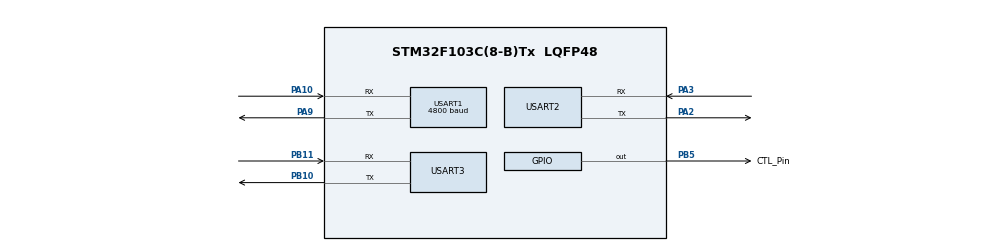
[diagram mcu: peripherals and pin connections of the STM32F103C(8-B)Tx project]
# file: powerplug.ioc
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Dma.Request0=USART3_RX
Dma.Request1=USART3_TX
Dma.Request2=USART1_RX
Dma.USART1_RX.2.Direction=DMA_PERIPH_TO_MEMORY
Dma.USART1_RX.2.Instance=DMA1_Channel5
Dma.USART1_RX.2.MemDataAlignment=DMA_MDATAALIGN_BYTE
Dma.USART1_RX.2.MemInc=DMA_MINC_ENABLE
Dma.USART1_RX.2.Mode=DMA_NORMAL
Dma.USART1_RX.2.PeriphDataAlignment=DMA_PDATAALIGN_BYTE
Dma.USART1_RX.2.PeriphInc=DMA_PINC_DISABLE
Dma.USART1_RX.2.Priority=DMA_PRIORITY_LOW
Dma.USART3_RX.0.Direction=DMA_PERIPH_TO_MEMORY
Dma.USART3_RX.0.Instance=DMA1_Channel3
Dma.USART3_RX.0.MemDataAlignment=DMA_MDATAALIGN_BYTE
Dma.USART3_RX.0.MemInc=DMA_MINC_ENABLE
Dma.USART3_RX.0.Mode=DMA_NORMAL
Dma.USART3_RX.0.PeriphDataAlignment=DMA_PDATAALIGN_BYTE
Dma.USART3_RX.0.PeriphInc=DMA_PINC_DISABLE
Dma.USART3_RX.0.Priority=DMA_PRIORITY_LOW
Dma.USART3_TX.1.Direction=DMA_MEMORY_TO_PERIPH
Dma.USART3_TX.1.Instance=DMA1_Channel2
Dma.USART3_TX.1.MemDataAlignment=DMA_MDATAALIGN_BYTE
Dma.USART3_TX.1.MemInc=DMA_MINC_ENABLE
Dma.USART3_TX.1.Mode=DMA_NORMAL
Dma.USART3_TX.1.PeriphDataAlignment=DMA_PDATAALIGN_BYTE
Dma.USART3_TX.1.PeriphInc=DMA_PINC_DISABLE
Dma.USART3_TX.1.Priority=DMA_PRIORITY_LOW
FREERTOS.BinarySemaphores01=sys_main_can_send_wifi,Dynamic,NULL
FREERTOS.Tasks01=sys_main_task,2,128,start_sys_main,Default,NULL,Dynamic,NULL,NULL;wifi_recv_task,1,128,start_wifi_recv,Default,NULL,Dynamic,NULL,NULL;power_recv_task,0,128,start_power_recv,Default,NULL,Dynamic,NULL,NULL
Mcu.Family=STM32F1
Mcu.Name=STM32F103C(8-B)Tx
Mcu.Package=LQFP48
NVIC.DMA1_Channel2_IRQn=true\:5\:0\:false\:false\:true\:true\:false
NVIC.DMA1_Channel3_IRQn=true\:5\:0\:false\:false\:true\:true\:false
NVIC.DMA1_Channel5_IRQn=true\:5\:0\:false\:false\:true\:true\:false
NVIC.PriorityGroup=NVIC_PRIORITYGROUP_4
NVIC.USART1_IRQn=true\:7\:0\:true\:true\:true\:1\:true\:true
NVIC.USART3_IRQn=true\:5\:0\:true\:true\:true\:2\:true\:true
PA10.Mode=Asynchronous
PA10.Signal=USART1_RX
PA13.Mode=Serial_Wire
PA13.Signal=SYS_JTMS-SWDIO
PA14.Mode=Serial_Wire
PA14.Signal=SYS_JTCK-SWCLK
PA2.Mode=Asynchronous
PA2.Signal=USART2_TX
PA3.Mode=Asynchronous
PA3.Signal=USART2_RX
PA9.Mode=Asynchronous
PA9.Signal=USART1_TX
PB10.Mode=Asynchronous
PB10.Signal=USART3_TX
PB11.Mode=Asynchronous
PB11.Signal=USART3_RX
PB5.GPIO_Label=CTL_Pin
PB5.PinState=GPIO_PIN_SET
PB5.Signal=GPIO_Output
PB5.Stacked=true
ProjectManager.HeapSize=0x200
ProjectManager.StackSize=0x400
ProjectManager.TargetToolchain=MDK-ARM V5
RCC.APB1Freq_Value=8000000
RCC.APB2Freq_Value=8000000
USART1.BaudRate=4800
USART1.VirtualMode=VM_ASYNC
USART2.VirtualMode=VM_ASYNC
USART3.VirtualMode=VM_ASYNC
VP_FREERTOS_VS_ENABLE.Mode=Enabled
VP_IWDG_VS_IWDG.Mode=IWDG_Activate
board=custom

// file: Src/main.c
/**
  ******************************************************************************
  * @file           : main.c
  * @brief          : Main program body
  ******************************************************************************
  * This notice applies to any and all portions of this file
  * that are not between comment pairs USER CODE BEGIN and
  * USER CODE END. Other portions of this file, whether
  * inserted by the user or by software development tools
  * are owned by their respective copyright owners.
  *
  * Copyright (c) 2018 STMicroelectronics International N.V.
  * All rights reserved.
  *
  * Redistribution and use in source and binary forms, with or without
  * modification, are permitted, provided that the following conditions are met:
  *
  * 1. Redistribution of source code must retain the above copyright notice,
  *    this list of conditions and the following disclaimer.
  * 2. Redistributions in binary form must reproduce the above copyright notice,
  *    this list of conditions and the following disclaimer in the documentation
  *    and/or other materials provided with the distribution.
  * 3. Neither the name of STMicroelectronics nor the names of other
  *    contributors to this software may be used to endorse or promote products
  *    derived from this software without specific written permission.
  * 4. This software, including modifications and/or derivative works of this
  *    software, must execute solely and exclusively on microcontroller or
  *    microprocessor devices manufactured by or for STMicroelectronics.
  * 5. Redistribution and use of this software other than as permitted under
  *    this license is void and will automatically terminate your rights under
  *    this license.
  *
  * THIS SOFTWARE IS PROVIDED BY STMICROELECTRONICS AND CONTRIBUTORS "AS IS"
  * AND ANY EXPRESS, IMPLIED OR STATUTORY WARRANTIES, INCLUDING, BUT NOT
  * LIMITED TO, THE IMPLIED WARRANTIES OF MERCHANTABILITY, FITNESS FOR A
  * PARTICULAR PURPOSE AND NON-INFRINGEMENT OF THIRD PARTY INTELLECTUAL PROPERTY
  * RIGHTS ARE DISCLAIMED TO THE FULLEST EXTENT PERMITTED BY LAW. IN NO EVENT
  * SHALL STMICROELECTRONICS OR CONTRIBUTORS BE LIABLE FOR ANY DIRECT, INDIRECT,
  * INCIDENTAL, SPECIAL, EXEMPLARY, OR CONSEQUENTIAL DAMAGES (INCLUDING, BUT NOT
  * LIMITED TO, PROCUREMENT OF SUBSTITUTE GOODS OR SERVICES; LOSS OF USE, DATA,
  * OR PROFITS; OR BUSINESS INTERRUPTION) HOWEVER CAUSED AND ON ANY THEORY OF
  * LIABILITY, WHETHER IN CONTRACT, STRICT LIABILITY, OR TORT (INCLUDING
  * NEGLIGENCE OR OTHERWISE) ARISING IN ANY WAY OUT OF THE USE OF THIS SOFTWARE,
  * EVEN IF ADVISED OF THE POSSIBILITY OF SUCH DAMAGE.
  *
  ******************************************************************************
  */
#include "main.h"
#include "stm32f1xx_hal.h"
#include "cmsis_os.h"

IWDG_HandleTypeDef hiwdg;

UART_HandleTypeDef huart1;
UART_HandleTypeDef huart2;
UART_HandleTypeDef huart3;
DMA_HandleTypeDef hdma_usart1_rx;
DMA_HandleTypeDef hdma_usart3_rx;
DMA_HandleTypeDef hdma_usart3_tx;

osThreadId sys_main_taskHandle;
osThreadId wifi_recv_taskHandle;
osThreadId power_recv_taskHandle;
osSemaphoreId sys_main_can_send_wifiHandle;

/* USER CODE BEGIN PV */
/* Private variables ---------------------------------------------------------*/

/* USER CODE END PV */

void SystemClock_Config(void);
static void MX_GPIO_Init(void);
static void MX_DMA_Init(void);
static void MX_USART2_UART_Init(void);
static void MX_USART3_UART_Init(void);
static void MX_USART1_UART_Init(void);
static void MX_IWDG_Init(void);
void start_sys_main(void const *argument);
void start_wifi_recv(void const *argument);
void start_power_recv(void const *argument);
static void MX_NVIC_Init(void);

/* USER CODE BEGIN PFP */
/* Private function prototypes -----------------------------------------------*/

/* USER CODE END PFP */

/* USER CODE BEGIN 0 */
//net_state_machine
typedef enum
{
  NET_STATE_MACHINE_CWMODE_DEF_1 = 0,
  NET_STATE_MACHINE_CWJAP_DEF_1 = 1,
  NET_STATE_MACHINE_CIPSTART_TCP_IP = 2,
  NET_STATE_MACHINE_CIPSEND_7 = 3,
  NET_STATE_MACHINE_CIPSEND_CONTENT_1 = 4,
  NET_STATE_MACHINE_CIPSEND_11_1 = 5,
  NET_STATE_MACHINE_CIPSEND_CONTENT_2 = 6,
  NET_STATE_MACHINE_CIPSEND_11_2 = 7,
  NET_STATE_MACHINE_CIPSEND_CONTENT_3 = 8,
  NET_STATE_MACHINE_CWJAP_QUERY = 9,
  NET_STATE_MACHINE_ = 255
} net_state_machine_status;

#define UART1_RX_LEN  24

#define PUTCHAR_PROTOTYPE int fputc(int ch, FILE *f)
PUTCHAR_PROTOTYPE
{
  HAL_UART_Transmit(&huart2, (uint8_t *)&ch, 1, 0xFFFF);
  return ch;
}

uint32_t   voltage_par_value;
uint32_t   voltage_reg_value;
uint32_t   current_par_value;
uint32_t   current_reg_value;
uint32_t   power_param_value;
uint32_t   power_reges_value;
float      voltage;
uint32_t   voltage_int;
float      current;
uint32_t   current_int;
float      power;
uint32_t   power_int;

uint8_t    usart3_rx_flag = 0;
uint8_t    usart3_rx_buffer[128];
uint8_t    usart3_tx_buffer[128];
uint16_t   usart3_tx_len = 0;

uint8_t    usart1_rx_flag = 0;
uint8_t    usart1_rx_buffer[48];
uint8_t    usart1_tx_buffer[48];
uint16_t   usart1_tx_len = 0;

char thousand_char;
char hundred_char;
char deci_char;
char last_char;
char value2str_vol_cur[20];
char value2str_vol[11];
char value2str_cur[11];
char value2str_pwr[11];
char relay_state[11];
int net_state_machine = 0;
int rely_state = 0;

_Bool net_sendcmd_noblock(char *cmd)
{
  printf("Sent:%s\r\n", cmd);
  dma_send((unsigned char *)cmd, strlen((const char *)cmd));
  //printf("Sent:%s\r\n", cmd);
}

void value2str_in_out(int value, char *str)
{
  int temp_value;

  if (value / 10000 != 0)
  {
    return ;
  }
  else if (value / 10000 == 0) //below 10000
  {
    thousand_char = value / 1000 + 0x30; //thousand
    temp_value = value % 1000; // hundred deci etc

    if (temp_value / 100 != 0)
    {
      hundred_char = temp_value / 100 + 0x30;
    }
    else if (temp_value / 100 == 0)
    {
      hundred_char = 0x30;
    }
    temp_value = value % 100; //deci etc;

    if (temp_value / 10 != 0)
    {
      deci_char = temp_value / 10 + 0x30;
    }
    else if (temp_value / 10 == 0)
    {
      deci_char = 0x30;
    }
    last_char = value % 10 + 0x30;
  }

  str[0] = 'v';
  str[1] = 'o';
  str[2] = 'l';
  str[3]  = ':';

  str[4] = thousand_char;
  str[5] = hundred_char;
  str[6] = deci_char;
  str[7] = last_char;
  str[8] = ',';
  str[9] = ' ';
  str[10] = '\0';
}
void cur_value2str_in_out(int value, char *str)
{
  int temp_value;

  if (value / 10000 != 0)
  {
    return ;
  }
  else if (value / 10000 == 0) //below 10000
  {
    thousand_char = value / 1000 + 0x30; //thousand
    temp_value = value % 1000; // hundred deci etc

    if (temp_value / 100 != 0)
    {
      hundred_char = temp_value / 100 + 0x30;
    }
    else if (temp_value / 100 == 0)
    {
      hundred_char = 0x30;
    }
    temp_value = value % 100; //deci etc;

    if (temp_value / 10 != 0)
    {
      deci_char = temp_value / 10 + 0x30;
    }
    else if (temp_value / 10 == 0)
    {
      deci_char = 0x30;
    }
    last_char = value % 10 + 0x30;
  }

  str[0] = 'c';
  str[1] = 'u';
  str[2] = 'r';
  str[3]  = ':';

  str[4] = thousand_char;
  str[5] = hundred_char;
  str[6] = deci_char;
  str[7] = last_char;
  str[8] = ',';
  str[9] = ' ';
  str[10] = '\0';
}

void pwr_value2str_in_out(int value, char *str)
{
  int temp_value;

  if (value / 10000 != 0)
  {
    return ;
  }
  else if (value / 10000 == 0) //below 10000
  {
    thousand_char = value / 1000 + 0x30; //thousand
    temp_value = value % 1000; // hundred deci etc

    if (temp_value / 100 != 0)
    {
      hundred_char = temp_value / 100 + 0x30;
    }
    else if (temp_value / 100 == 0)
    {
      hundred_char = 0x30;
    }
    temp_value = value % 100; //deci etc;

    if (temp_value / 10 != 0)
    {
      deci_char = temp_value / 10 + 0x30;
    }
    else if (temp_value / 10 == 0)
    {
      deci_char = 0x30;
    }
    last_char = value % 10 + 0x30;
  }

  str[0] = 'p';
  str[1] = 'w';
  str[2] = 'r';
  str[3]  = ':';

  str[4] = thousand_char;
  str[5] = hundred_char;
  str[6] = deci_char;
  str[7] = last_char;
  str[8] = ',';
  str[9] = ' ';
  str[10] = '\0';
}

void hlw8032_value_adjust(uint8_t *rx_src, uint8_t *rx_adjust)
{
  int rx_bf_index;
  uint8_t rx_bf_temp_pre;
  uint8_t rx_bf_temp_cur;
  for (rx_bf_index = 0; rx_bf_index < 24; rx_bf_index++)
  {
    rx_bf_temp_cur = rx_src[rx_bf_index];
    if (rx_bf_temp_cur == 0x55)
    {
      rx_bf_temp_pre = rx_bf_temp_cur;
    }
    else if (rx_bf_temp_cur == 0x5a)
    {
      if (rx_bf_temp_pre == 0x55)
      {
        if (rx_bf_index == 1)
        {
          memcpy(rx_adjust + 2, &rx_src[rx_bf_temp_cur + 2], 24 - (rx_bf_temp_cur - 1));
          memcpy(rx_adjust + 2 + (24 - (rx_bf_temp_cur - 1)), &rx_src[0], rx_bf_temp_cur - 1);
        }
      }
    }
  }
}
/* USER CODE END 0 */

int main(void)
{

  /* MCU Configuration----------------------------------------------------------*/

  /* Reset of all peripherals, Initializes the Flash interface and the Systick. */
  HAL_Init();

  /* Configure the system clock */
  SystemClock_Config();

  /* Initialize all configured peripherals */
  MX_GPIO_Init();
  MX_DMA_Init();
  MX_USART2_UART_Init();
  MX_USART3_UART_Init();
  MX_USART1_UART_Init();
  MX_IWDG_Init();

  /* Initialize interrupts */
  MX_NVIC_Init();
  /* USER CODE BEGIN 2 */
  HAL_IWDG_Init(&hiwdg);
  //uart1 hlw8032
  //uart2 printf
  //uart3 esp8266

  printf("sichuan university wsn lab\r\n");
  printf("project powerplug v1.0\r\n");
  printf("compile date: %s %s\r\n", __DATE__, __TIME__);

  //uart3 receive dma wifi at command
  if (HAL_UART_Receive_DMA(&huart3, (uint8_t *)&usart3_rx_buffer, 128) != HAL_OK)
  {
    Error_Handler();
  }

  //enable uart3 idle interrupt
  __HAL_UART_ENABLE_IT(&huart3, UART_IT_IDLE);

  //uart1 receive dma hlw8032 data 24byte
  HAL_UART_Receive_IT(&huart1, usart1_rx_buffer, UART1_RX_LEN);

  /* USER CODE END 2 */

  /* Create the semaphores(s) */
  /* definition and creation of sys_main_can_send_wifi */
  osSemaphoreDef(sys_main_can_send_wifi);
  sys_main_can_send_wifiHandle = osSemaphoreCreate(osSemaphore(sys_main_can_send_wifi), 1);

  /* Create the thread(s) */
  /* definition and creation of sys_main_task */
  osThreadDef(sys_main_task, start_sys_main, osPriorityHigh, 0, 128);
  sys_main_taskHandle = osThreadCreate(osThread(sys_main_task), NULL);

  /* definition and creation of wifi_recv_task */
  osThreadDef(wifi_recv_task, start_wifi_recv, osPriorityAboveNormal, 0, 128);
  wifi_recv_taskHandle = osThreadCreate(osThread(wifi_recv_task), NULL);

  /* definition and creation of power_recv_task */
  osThreadDef(power_recv_task, start_power_recv, osPriorityNormal, 0, 128);
  power_recv_taskHandle = osThreadCreate(osThread(power_recv_task), NULL);

  /* Start scheduler */
  osKernelStart();

  /* We should never get here as control is now taken by the scheduler */

  /* Infinite loop */
  while (1)
  {

  }

}

void SystemClock_Config(void)
{

  RCC_OscInitTypeDef RCC_OscInitStruct;
  RCC_ClkInitTypeDef RCC_ClkInitStruct;

  /**Initializes the CPU, AHB and APB busses clocks
  */
  RCC_OscInitStruct.OscillatorType = RCC_OSCILLATORTYPE_HSI | RCC_OSCILLATORTYPE_LSI;
  RCC_OscInitStruct.HSIState = RCC_HSI_ON;
  RCC_OscInitStruct.HSICalibrationValue = 16;
  RCC_OscInitStruct.LSIState = RCC_LSI_ON;
  RCC_OscInitStruct.PLL.PLLState = RCC_PLL_NONE;
  if (HAL_RCC_OscConfig(&RCC_OscInitStruct) != HAL_OK)
  {
    _Error_Handler(__FILE__, __LINE__);
  }

  /**Initializes the CPU, AHB and APB busses clocks
  */
  RCC_ClkInitStruct.ClockType = RCC_CLOCKTYPE_HCLK | RCC_CLOCKTYPE_SYSCLK
                                | RCC_CLOCKTYPE_PCLK1 | RCC_CLOCKTYPE_PCLK2;
  RCC_ClkInitStruct.SYSCLKSource = RCC_SYSCLKSOURCE_HSI;
  RCC_ClkInitStruct.AHBCLKDivider = RCC_SYSCLK_DIV1;
  RCC_ClkInitStruct.APB1CLKDivider = RCC_HCLK_DIV1;
  RCC_ClkInitStruct.APB2CLKDivider = RCC_HCLK_DIV1;

  if (HAL_RCC_ClockConfig(&RCC_ClkInitStruct, FLASH_LATENCY_0) != HAL_OK)
  {
    _Error_Handler(__FILE__, __LINE__);
  }

  /**Configure the Systick interrupt time
  */
  HAL_SYSTICK_Config(HAL_RCC_GetHCLKFreq() / 1000);

  /**Configure the Systick
  */
  HAL_SYSTICK_CLKSourceConfig(SYSTICK_CLKSOURCE_HCLK);

  /* SysTick_IRQn interrupt configuration */
  HAL_NVIC_SetPriority(SysTick_IRQn, 15, 0);
}

/**
  * @brief NVIC Configuration.
  * @retval None
  */
static void MX_NVIC_Init(void)
{
  /* USART1_IRQn interrupt configuration */
  HAL_NVIC_SetPriority(USART1_IRQn, 7, 0);
  HAL_NVIC_EnableIRQ(USART1_IRQn);
  /* USART3_IRQn interrupt configuration */
  HAL_NVIC_SetPriority(USART3_IRQn, 5, 0);
  HAL_NVIC_EnableIRQ(USART3_IRQn);
}

/* IWDG init function */
static void MX_IWDG_Init(void)
{

  hiwdg.Instance = IWDG;
  hiwdg.Init.Prescaler = IWDG_PRESCALER_4;
  hiwdg.Init.Reload = 4095;
  if (HAL_IWDG_Init(&hiwdg) != HAL_OK)
  {
    _Error_Handler(__FILE__, __LINE__);
  }

}

/* USART1 init function */
static void MX_USART1_UART_Init(void)
{

  huart1.Instance = USART1;
  huart1.Init.BaudRate = 4800;
  huart1.Init.WordLength = UART_WORDLENGTH_8B;
  huart1.Init.StopBits = UART_STOPBITS_1;
  huart1.Init.Parity = UART_PARITY_NONE;
  huart1.Init.Mode = UART_MODE_TX_RX;
  huart1.Init.HwFlowCtl = UART_HWCONTROL_NONE;
  huart1.Init.OverSampling = UART_OVERSAMPLING_16;
  if (HAL_UART_Init(&huart1) != HAL_OK)
  {
    _Error_Handler(__FILE__, __LINE__);
  }

}

/* USART2 init function */
static void MX_USART2_UART_Init(void)
{

  huart2.Instance = USART2;
  huart2.Init.BaudRate = 115200;
  huart2.Init.WordLength = UART_WORDLENGTH_8B;
  huart2.Init.StopBits = UART_STOPBITS_1;
  huart2.Init.Parity = UART_PARITY_NONE;
  huart2.Init.Mode = UART_MODE_TX_RX;
  huart2.Init.HwFlowCtl = UART_HWCONTROL_NONE;
  huart2.Init.OverSampling = UART_OVERSAMPLING_16;
  if (HAL_UART_Init(&huart2) != HAL_OK)
  {
    _Error_Handler(__FILE__, __LINE__);
  }

}

/* USART3 init function */
static void MX_USART3_UART_Init(void)
{

  huart3.Instance = USART3;
  huart3.Init.BaudRate = 115200;
  huart3.Init.WordLength = UART_WORDLENGTH_8B;
  huart3.Init.StopBits = UART_STOPBITS_1;
  huart3.Init.Parity = UART_PARITY_NONE;
  huart3.Init.Mode = UART_MODE_TX_RX;
  huart3.Init.HwFlowCtl = UART_HWCONTROL_NONE;
  huart3.Init.OverSampling = UART_OVERSAMPLING_16;
  if (HAL_UART_Init(&huart3) != HAL_OK)
  {
    _Error_Handler(__FILE__, __LINE__);
  }

}

static void MX_DMA_Init(void)
{
  /* DMA controller clock enable */
  __HAL_RCC_DMA1_CLK_ENABLE();

  /* DMA interrupt init */
  /* DMA1_Channel2_IRQn interrupt configuration */
  HAL_NVIC_SetPriority(DMA1_Channel2_IRQn, 5, 0);
  HAL_NVIC_EnableIRQ(DMA1_Channel2_IRQn);
  /* DMA1_Channel3_IRQn interrupt configuration */
  HAL_NVIC_SetPriority(DMA1_Channel3_IRQn, 5, 0);
  HAL_NVIC_EnableIRQ(DMA1_Channel3_IRQn);
  /* DMA1_Channel5_IRQn interrupt configuration */
  HAL_NVIC_SetPriority(DMA1_Channel5_IRQn, 5, 0);
  HAL_NVIC_EnableIRQ(DMA1_Channel5_IRQn);

}

/** Configure pins as
        * Analog
        * Input
        * Output
        * EVENT_OUT
        * EXTI
*/
static void MX_GPIO_Init(void)
{

  GPIO_InitTypeDef GPIO_InitStruct;

  /* GPIO Ports Clock Enable */
  __HAL_RCC_GPIOA_CLK_ENABLE();
  __HAL_RCC_GPIOB_CLK_ENABLE();

  /*Configure GPIO pin Output Level */
  HAL_GPIO_WritePin(CTL_Pin_GPIO_Port, CTL_Pin_Pin, GPIO_PIN_SET);

  /*Configure GPIO pin : CTL_Pin_Pin */
  GPIO_InitStruct.Pin = CTL_Pin_Pin;
  GPIO_InitStruct.Mode = GPIO_MODE_OUTPUT_PP;
  GPIO_InitStruct.Pull = GPIO_NOPULL;
  GPIO_InitStruct.Speed = GPIO_SPEED_FREQ_LOW;
  HAL_GPIO_Init(CTL_Pin_GPIO_Port, &GPIO_InitStruct);

}

/* USER CODE BEGIN 4 */
void HAL_UART_RxCpltCallback(UART_HandleTypeDef *huart)
{
  if (huart->Instance == USART1)
  {
    usart1_rx_flag = 1;
  }
}
void HAL_UART_ErrorCallback(UART_HandleTypeDef *huart)
{
  if (huart->Instance == USART1)
  {
    HAL_UART_Receive_IT(&huart1, usart1_rx_buffer, UART1_RX_LEN);
  }
}

/* USER CODE END 4 */

/* start_sys_main function */
void start_sys_main(void const *argument)
{

  /* USER CODE BEGIN 5 */
  osSemaphoreRelease(sys_main_can_send_wifiHandle);
  /* Infinite loop */
  for (;;)
  {
    osDelay(50);
    HAL_IWDG_Refresh(&hiwdg);
    //wifi send function part
    osSemaphoreWait(sys_main_can_send_wifiHandle, osWaitForever);
    //HAL_UART_Receive_IT(&huart1, usart1_rx_buffer, UART1_RX_LEN);
    if (net_state_machine == NET_STATE_MACHINE_CWMODE_DEF_1)
    {
      net_sendcmd_noblock("AT+CWMODE_DEF=1\r\n");
    }
    if (net_state_machine == NET_STATE_MACHINE_CWJAP_DEF_1)
    {
      //net_sendcmd_noblock("AT+CWJAP_DEF=\"wsn405\",\"wsn405405\"\r\n");
      net_sendcmd_noblock("AT+CWJAP_DEF=\"davwang\",\"15908106107\"\r\n");

    }
    if (net_state_machine == NET_STATE_MACHINE_CIPSTART_TCP_IP)
    {
      net_sendcmd_noblock("AT+CIPSTART=\"TCP\",\"120.78.149.124\",9999\r\n");
    }
    if (net_state_machine == NET_STATE_MACHINE_CIPSEND_7)
    {
      net_sendcmd_noblock("AT+CIPSEND=7\r\n");
    }
    if (net_state_machine == NET_STATE_MACHINE_CIPSEND_CONTENT_1)
    {
      net_sendcmd_noblock("hello\r\n");
    }
    if (net_state_machine == NET_STATE_MACHINE_CIPSEND_11_1)
    {
      //net_sendcmd_noblock("AT+CIPSEND=11\r\n");
      //value2str_vol_cur
      //net_sendcmd_noblock("AT+CIPSEND=20\r\n");
      net_sendcmd_noblock("AT+CIPSEND=37\r\n");
    }
    if (net_state_machine == NET_STATE_MACHINE_CIPSEND_CONTENT_2)
    {
      //printf("Send Data\r\n");
      //dma_send(value2str_vol, 11);
      //dma_send(value2str_vol_cur, 20);
      dma_send(value2str_vol_cur, 37);
    }
    if (net_state_machine == NET_STATE_MACHINE_CIPSEND_11_2)
    {
      printf("why?");
      net_sendcmd_noblock("AT+CIPSEND=11\r\n");
    }
    if (net_state_machine == NET_STATE_MACHINE_CIPSEND_CONTENT_3)
    {
      memcpy(value2str_cur, "cur", 3);
      //printf("Send Data\r\n");
      dma_send(value2str_cur, 11);
    }
    if (net_state_machine == NET_STATE_MACHINE_CWJAP_QUERY)
    {
      net_sendcmd_noblock("AT+CWJAP?\r\n");
    }
  }
  /* USER CODE END 5 */
}

/* start_wifi_recv function */
void start_wifi_recv(void const *argument)
{
  /* USER CODE BEGIN start_wifi_recv */
  /* Infinite loop */
  for (;;)
  {
    osDelay(50);
    if (usart3_rx_flag == 1)
    {
      usart3_rx_flag = 0;

      //all the usart3 buffer should be checked firstly.
      if (strstr(usart3_tx_buffer, "ERROR"))
      {
        net_state_machine = NET_STATE_MACHINE_CWMODE_DEF_1;
        memset(usart3_tx_buffer, 0x00, 128);
        osDelay(2000);
        osSemaphoreRelease(sys_main_can_send_wifiHandle);
      }
      //net state machine switch
      if (net_state_machine == NET_STATE_MACHINE_CWMODE_DEF_1)
      {
        net_state_machine = 1;
        printf("Received:%s\r\n", usart3_tx_buffer);
        memset(usart3_tx_buffer, 0x00, 128);
        osDelay(2000);
        osSemaphoreRelease(sys_main_can_send_wifiHandle);
      }
      else if (net_state_machine == NET_STATE_MACHINE_CWJAP_DEF_1)
      {
        net_state_machine = 1;

        if ((strstr(usart3_tx_buffer, "OK")) || (strstr(usart3_tx_buffer, "WIFI")))
        {
          net_state_machine = NET_STATE_MACHINE_CIPSTART_TCP_IP;
          memset(usart3_tx_buffer, 0x00, 128);
          osDelay(4000);
          osSemaphoreRelease(sys_main_can_send_wifiHandle);
        }

        printf("Received:%s\r\n", usart3_tx_buffer);
        memset(usart3_tx_buffer, 0x00, 128);
      }
      else if (net_state_machine == NET_STATE_MACHINE_CIPSTART_TCP_IP)
      {
        if (strstr(usart3_tx_buffer, "OK"))
        {
          net_state_machine = NET_STATE_MACHINE_CIPSEND_11_1;
          memset(usart3_tx_buffer, 0x00, 128);
          osSemaphoreRelease(sys_main_can_send_wifiHandle);
        }
        else  if ((strstr(usart3_tx_buffer, "ERROR")) || (strstr(usart3_tx_buffer, "link is not valid")))
        {
          printf("tcp connect error\r\n");
          net_state_machine = NET_STATE_MACHINE_CWMODE_DEF_1;
          memset(usart3_tx_buffer, 0x00, 128);
          osDelay(2000);
          osSemaphoreRelease(sys_main_can_send_wifiHandle);
        }
        printf("Received:%s\r\n", usart3_tx_buffer);
        memset(usart3_tx_buffer, 0x00, 128);
      }
      else if (net_state_machine == NET_STATE_MACHINE_CIPSEND_7)
      {
        if (strstr(usart3_tx_buffer, "OK"))
        {
          net_state_machine = NET_STATE_MACHINE_CIPSEND_CONTENT_1;
          memset(usart3_tx_buffer, 0x00, 128);
          osSemaphoreRelease(sys_main_can_send_wifiHandle);
        }
        printf("Received:%s\r\n", usart3_tx_buffer);
        memset(usart3_tx_buffer, 0x00, 128);
      }
      else if (net_state_machine == NET_STATE_MACHINE_CIPSEND_CONTENT_1)
      {
        if ((strstr(usart3_tx_buffer, "OK")) || (strstr(usart3_tx_buffer, "Recv")))
        {
          net_state_machine = NET_STATE_MACHINE_CIPSEND_11_1;
          memset(usart3_tx_buffer, 0x00, 128);
          osSemaphoreRelease(sys_main_can_send_wifiHandle);
        }
        printf("Received:%s\r\n", usart3_tx_buffer);
        memset(usart3_tx_buffer, 0x00, 128);
      }
      else if (net_state_machine == NET_STATE_MACHINE_CIPSEND_11_1)
      {
        if (strstr(usart3_tx_buffer, "OK"))
        {
          net_state_machine = NET_STATE_MACHINE_CIPSEND_CONTENT_2;
          memset(usart3_tx_buffer, 0x00, 128);
          osSemaphoreRelease(sys_main_can_send_wifiHandle);

        }
        printf("Received:%s\r\n", usart3_tx_buffer);
        memset(usart3_tx_buffer, 0x00, 128);

      }
      else if (net_state_machine == NET_STATE_MACHINE_CIPSEND_CONTENT_2)
      {
        if ((strstr(usart3_tx_buffer, "OK")) || (strstr(usart3_tx_buffer, "Recv")))
        {
          //net_state_machine = NET_STATE_MACHINE_CIPSEND_11_2;
          net_state_machine = NET_STATE_MACHINE_CIPSEND_11_1;
          memset(usart3_tx_buffer, 0x00, 128);
          osDelay(1000);
          osSemaphoreRelease(sys_main_can_send_wifiHandle);

        }
        printf("Received:%s\r\n", usart3_tx_buffer);
        memset(usart3_tx_buffer, 0x00, 128);
      }
      else if (net_state_machine == NET_STATE_MACHINE_CIPSEND_11_2)
      {
        if (strstr(usart3_tx_buffer, "OK"))
        {
          net_state_machine = NET_STATE_MACHINE_CIPSEND_CONTENT_3;
          memset(usart3_tx_buffer, 0x00, 128);
          osSemaphoreRelease(sys_main_can_send_wifiHandle);

        }
        printf("Received:%s\r\n", usart3_tx_buffer);
        memset(usart3_tx_buffer, 0x00, 128);
      }
      else if (net_state_machine == NET_STATE_MACHINE_CIPSEND_CONTENT_3)
      {
        if ((strstr(usart3_tx_buffer, "OK")) || (strstr(usart3_tx_buffer, "Recv")))
        {
          net_state_machine = NET_STATE_MACHINE_CIPSEND_11_1;
          memset(usart3_tx_buffer, 0x00, 128);
          osDelay(2000);
          osSemaphoreRelease(sys_main_can_send_wifiHandle);

        }
        printf("Received:%s\r\n", usart3_tx_buffer);
        memset(usart3_tx_buffer, 0x00, 128);
      }
      else if (net_state_machine == NET_STATE_MACHINE_CWJAP_QUERY)
      {
        if (strstr(usart3_tx_buffer, "OK"))
        {
          net_state_machine = NET_STATE_MACHINE_CIPSEND_11_1;
          memset(usart3_tx_buffer, 0x00, 128);
          //osDelay(2000);
          osSemaphoreRelease(sys_main_can_send_wifiHandle);

        }
        printf("Received:%s\r\n", usart3_tx_buffer);
        memset(usart3_tx_buffer, 0x00, 128);
      }

    }
  }
  /* USER CODE END start_wifi_recv */
}

/* start_power_recv function */
void start_power_recv(void const *argument)
{
  /* USER CODE BEGIN start_power_recv */
  uint16_t count;
  uint8_t rx_buff_temp[24];
  uint8_t a[24];
  uint8_t b[24];
  int pre_net_state_machine;
  int cur_net_state_machine;
  int net_state_unchanged_count;
  int i;
  int start_index;
  static uint8_t send_semp_flag;
  /* Infinite loop */
  for (;;)
  {
    HAL_IWDG_Refresh(&hiwdg);

    if (usart1_rx_flag == 1)
    {
      usart1_rx_flag = 0;

      // copy the data to the temp buffer
      taskENTER_CRITICAL();
      memcpy(a, usart1_rx_buffer, 24);

      for (i = 0; i < 24; i++)
      {
        if ((a[i] == 0x55) && (a[i + 1] == 0x5a))
        {
          start_index = i;
        }
      }
      memcpy(b, a + start_index, 24 - start_index);
      memcpy(b + start_index, a, start_index);
      memcpy(a, b, 24);
      memcpy(rx_buff_temp, a, 24);
      taskEXIT_CRITICAL();
      count++;
      if (count > 10)
      {
        count = 0;
        //printf("voltage=%f\r\n", voltage);
        //printf("current=%f\r\n", current);
        printf("net_state_machine=%d\r\n", net_state_machine);
        cur_net_state_machine = net_state_machine;
        if (cur_net_state_machine == pre_net_state_machine)
        {
          net_state_unchanged_count++;
        }
        else
        {
          net_state_unchanged_count = 0;
        }

        pre_net_state_machine = cur_net_state_machine;
        printf("cycle:%x %x %x %x %x %x %x %x %x %x  %x %x %x %x %x %x %x %x %x %x   %x %x %x %x \r\n", a[0], a[1], a[2], a[3], a[4], a[5], a[6], a[7], a[8], a[9], a[10], a[11], a[12], a[13], a[14], a[15], a[16], a[17], a[18], a[19], a[20], a[21], a[22], a[23]);
        //printf("net_state_unchanged_count=%d\r\n", net_state_unchanged_count);

        if (net_state_unchanged_count > 5)
        {
          if (net_state_machine <= 5)
          {
            net_state_machine++;
            if (net_state_machine == 6)
            {
              net_state_machine = 5;
            }

          }
          if (net_state_machine == 6)
          {
            net_state_machine = 5;
          }
          //osSemaphoreRelease(sys_main_can_send_wifiHandle);
          send_semp_flag = 1;
        }

      }
      if (rx_buff_temp[0] == 0x55 && rx_buff_temp[1] == 0x5a && rx_buff_temp[2] == 0x02 && rx_buff_temp[3] == 0xe3)
      {
        // 20*50=1000ms, 1s send the voltage and current data to usart
        voltage_par_value = rx_buff_temp[2] * 0xFFFF + rx_buff_temp[3] * 0xFF + rx_buff_temp[4];
        voltage_reg_value = rx_buff_temp[5] * 0xFFFF + rx_buff_temp[6] * 0xFF + rx_buff_temp[7];
        current_par_value = rx_buff_temp[8] * 0xFFFF + rx_buff_temp[9] * 0xFF + rx_buff_temp[10];
        current_reg_value = rx_buff_temp[11] * 0xFFFF + rx_buff_temp[12] * 0xFF + rx_buff_temp[13];
        power_param_value = rx_buff_temp[14] * 0xFFFF + rx_buff_temp[15] * 0xFF + rx_buff_temp[16];
        power_reges_value = rx_buff_temp[17] * 0xFFFF + rx_buff_temp[18] * 0xFF + rx_buff_temp[19];
        voltage = voltage_par_value / voltage_reg_value * 1.88;
        voltage_int = (int)voltage ;
        current = current_par_value / current_reg_value * 0.5;
        current_int = (int)current;
        power = power_param_value / power_reges_value * 1.88 * 0.5;
        power_int = (int)power;

        value2str_in_out((int)voltage_int, &value2str_vol[0]);
        cur_value2str_in_out((int)current_int, &value2str_cur[0]);
        pwr_value2str_in_out((int)power_int, &value2str_pwr[0]);

        //string cat together
        memcpy(value2str_vol_cur, value2str_vol, 9);
        memcpy(value2str_vol_cur + 9, value2str_cur, 9);
        memcpy(value2str_vol_cur + 18, value2str_pwr, 9);
        //
        if (rely_state == 0)
        {
          memcpy(relay_state, "rely:off", 8);
        }
        else if (rely_state == 1)
        {
          memcpy(relay_state, "rely:on ", 8);
        }
        memcpy(value2str_vol_cur + 27, relay_state, 9);

        value2str_vol_cur[36] = '\0';

      }

      if (send_semp_flag == 1)
      {
        send_semp_flag = 0;
        osSemaphoreRelease(sys_main_can_send_wifiHandle);
      }

      osDelay(100);
      //if(count%2==0)
      HAL_UART_Receive_IT(&huart1, usart1_rx_buffer, UART1_RX_LEN);
    }
  }
  /* USER CODE END start_power_recv */
}

void _Error_Handler(char *file, int line)
{
  while (1)
  {
  }
}

/************************ (C) COPYRIGHT STMicroelectronics *****END OF FILE****/
